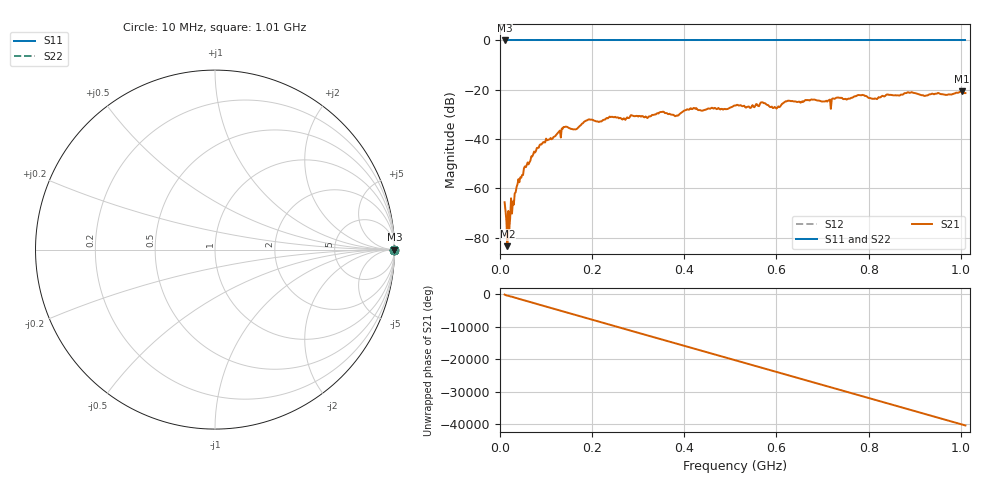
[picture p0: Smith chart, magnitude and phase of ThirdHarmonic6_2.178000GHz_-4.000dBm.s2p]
! 8/17/2025 1:58:40 AM
! C:\ANRITSUVNA\TEMP\TEMP.S2P
! CHANNEL.1
! TR.MEASUREMENT
! RAW.DATA
! RF.CORRECTION.OFF
! AVERAGING.OFF
! IF.BANDWIDTH: 5KHZ
! SWEEPTYPE:  FREQ.SWEEP(Linear)
! Reference Plane Port Info
! PORT:  PORT1  PORT2
! DISTANCE:  0  m  0  m
! TIME:  0  s  0  s
! PHASE.OFFSET:  0  deg.  0  deg.
! LOSS:  0  dB  0  dB
! REF.LOSS:  0  dB  0  dB
! REF.FREQ:  0  Hz  0  Hz
! Power Info
! POWER:  -20  dBm  -20  dBm
! EFF.POWER:  -20  dBm  -20  dBm
! SOURCE.ATTEN:  0  dB  0  dB
! TEST.ATTEN:  0  dB  0  dB
# GHZ S RI R 50.0
! FREQ.GHZ  S11RE  S11IM  S21RE  S21IM  S12RE  S12IM  S22RE  S22IM
!; PortSelection: Port_12
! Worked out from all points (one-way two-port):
!   501 points, 10 MHz to 1.01 GHz, reference 50 ohm
!   highest |S21| = -20.69 dB at 1.002 GHz (marker M1); lowest = -83.5 dB at 16 MHz (marker M2)
!   lowest |S11| = 0.0 dB at 10 MHz (marker M3)
!   |S11| at or under -10 dB: nowhere
!   |S22| runs from 0.0 to 0.0 dB; largest |S21 - S12| = 1.1
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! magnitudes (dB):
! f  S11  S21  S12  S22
! 10 MHz  0.0  -65.7  0.0  0.0
! 16 MHz  0.0  -83.5  0.0  0.0
! 18 MHz  0.0  -69.2  0.0  0.0
! 40 MHz  0.0  -56.3  0.0  0.0
! 78 MHz  0.0  -44.8  0.0  0.0
! 138 MHz  0.0  -35.1  0.0  0.0
! 164 MHz  0.0  -36.1  0.0  0.0
! 178 MHz  0.0  -33.8  0.0  0.0
! 344 MHz  0.0  -29.6  0.0  0.0
! 384 MHz  0.0  -30.4  0.0  0.0
! 416 MHz  0.0  -27.9  0.0  0.0
! 510 MHz  0.0  -26.4  0.0  0.0
! 570 MHz  0.0  -25.1  0.0  0.0
! 598 MHz  0.0  -27.3  0.0  0.0
! 624 MHz  0.0  -24.5  0.0  0.0
! 678 MHz  0.0  -24.0  0.0  0.0
! 714 MHz  0.0  -24.2  0.0  0.0
! 732 MHz  0.0  -23.2  0.0  0.0
! 814 MHz  0.0  -23.5  0.0  0.0
! 844 MHz  0.0  -22.1  0.0  0.0
! 1.002 GHz  0.0  -20.7  0.0  0.0
! 1.01 GHz  0.0  -21.3  0.0  0.0
